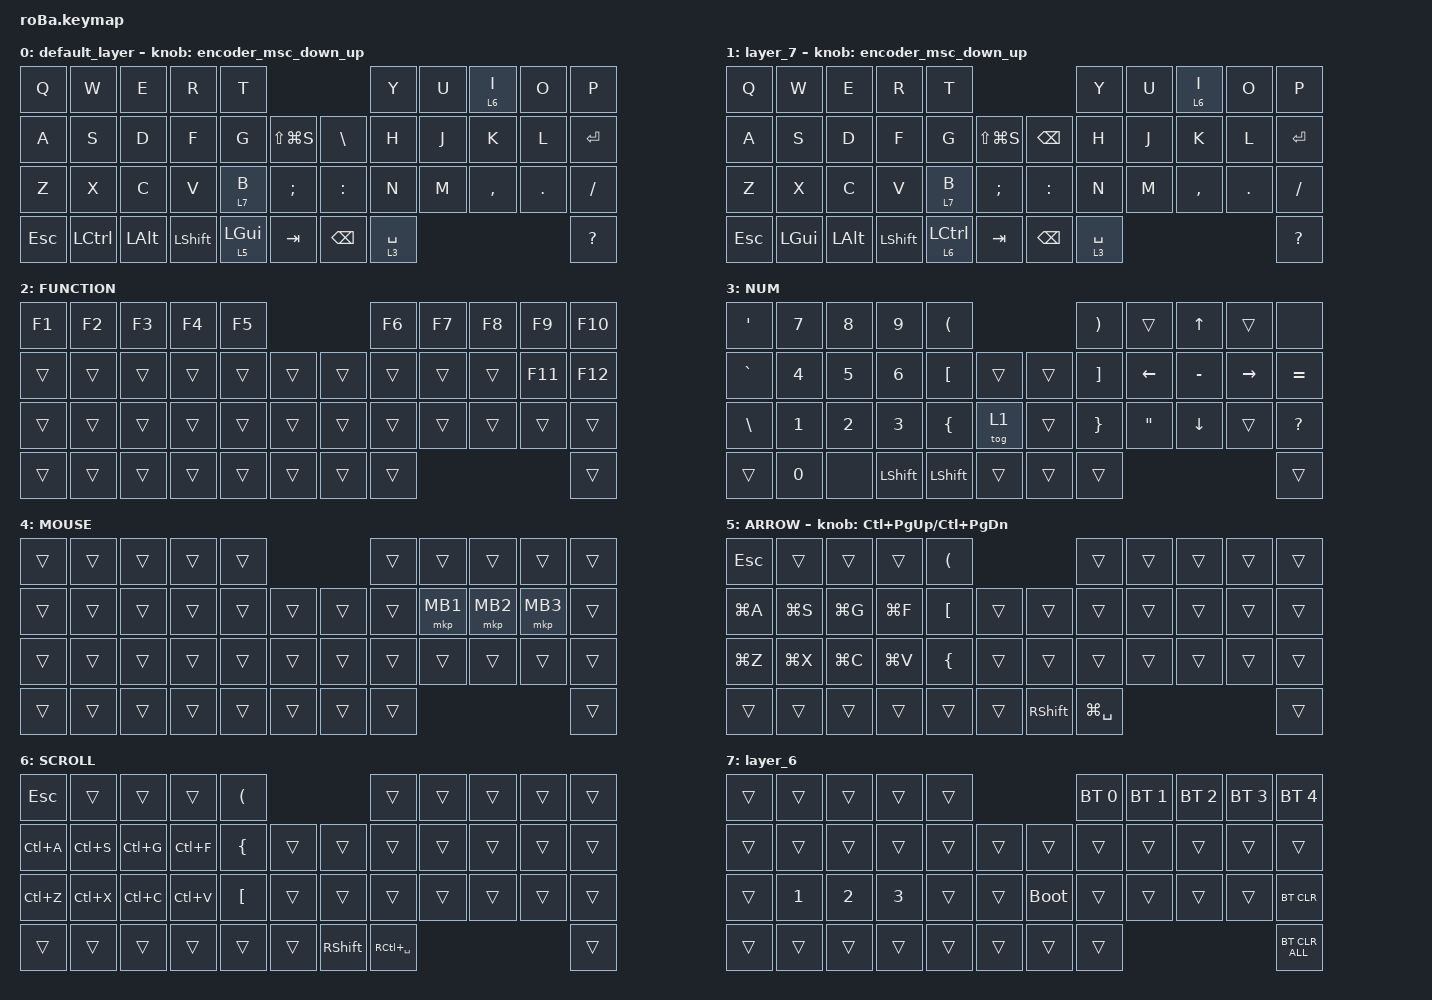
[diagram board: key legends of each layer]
#include <behaviors.dtsi>
#include <dt-bindings/zmk/bt.h>
#include <dt-bindings/zmk/keys.h>
#include <dt-bindings/zmk/pointing.h>

//スクロール量変更の定義

#define ZMK_POINTING_DEFAULT_SCRL_VAL 80

&mt {
    flavor = "balanced";
    quick-tap-ms = <0>;
};

&trackball {
    automouse-layer = <4>;
    scroll-layers = <5>;

    // arrows {
    //     layers = <3>;
    //     bindings =
    //         <&kp RIGHT_ARROW>,
    //         <&kp LEFT_ARROW>,
    //         <&kp UP_ARROW>,
    //         <&kp DOWN_ARROW>;
    //     tick = <10>;
    //     wait-ms = <5>;
    //     tap-ms = <5>;
    // };
};

/ {
    combos {
        compatible = "zmk,combos";

        tab {
            bindings = <&kp TAB>;
            key-positions = <11 12>;
        };

        shift_tab {
            bindings = <&kp LS(TAB)>;
            key-positions = <12 13>;
        };

        muhennkann {
            bindings = <&to_layer_0 INT_MUHENKAN>;
            key-positions = <11 10>;
        };

        double_quotation {
            bindings = <&kp DOUBLE_QUOTES>;
            key-positions = <20 21>;
        };

        eq {
            bindings = <&kp EQUAL>;
            key-positions = <24 25>;
        };
    };

    macros {
        to_layer_0: to_layer_0 {
            compatible = "zmk,behavior-macro-one-param";
            #binding-cells = <1>;
            bindings = <&to 0 &macro_param_1to1 &kp MACRO_PLACEHOLDER>;
            label = "TO_LAYER_0";
        };
    };

    behaviors {
        lt_to_layer_0: lt_to_layer_0 {
            compatible = "zmk,behavior-hold-tap";
            label = "LAYER_TAP_TO_0";
            bindings = <&mo>, <&to_layer_0>;

            #binding-cells = <2>;
            tapping-term-ms = <200>;
        };

        encoder_msc_down_up: encoder_msc_down_up {
            compatible = "zmk,behavior-sensor-rotate";
            label = "ENCODER_MSC_DOWN_UP";
            #sensor-binding-cells = <0>;
            bindings = <&msc SCRL_DOWN>, <&msc SCRL_UP>;

            tap-ms = <20>;
        };
    };

    keymap {
        compatible = "zmk,keymap";

        default_layer {
            bindings = <
&kp Q       &kp W      &kp E         &kp R           &kp T                                         &kp Y        &kp U  &lt 6 I    &kp O    &kp P
&kp A       &kp S      &kp D         &kp F           &kp G       &kp LS(LG(S))      &kp BACKSLASH  &kp H        &kp J  &kp K      &kp L    &kp ENTER
&kp Z       &kp X      &kp C         &kp V           &lt 7 B     &kp SEMICOLON      &kp COLON      &kp N        &kp M  &kp COMMA  &kp DOT  &kp SLASH
&kp ESCAPE  &kp LCTRL  &kp LEFT_ALT  &kp LEFT_SHIFT  &lt 5 LGUI  &kp TAB            &kp BACKSPACE  &lt 3 SPACE                             &kp QUESTION
            >;

            sensor-bindings = <&encoder_msc_down_up>;
        };

        layer_7 {
            bindings = <
&kp Q       &kp W     &kp E         &kp R           &kp T                                          &kp Y        &kp U  &lt 6 I    &kp O    &kp P
&kp A       &kp S     &kp D         &kp F           &kp G        &kp LS(LG(S))      &kp BACKSPACE  &kp H        &kp J  &kp K      &kp L    &kp ENTER
&kp Z       &kp X     &kp C         &kp V           &lt 7 B      &kp SEMICOLON      &kp COLON      &kp N        &kp M  &kp COMMA  &kp DOT  &kp SLASH
&kp ESCAPE  &kp LGUI  &kp LEFT_ALT  &kp LEFT_SHIFT  &lt 6 LCTRL  &kp TAB            &kp BACKSPACE  &lt 3 SPACE                             &kp QUESTION
            >;

            sensor-bindings = <&encoder_msc_down_up>;
        };

        FUNCTION {
            bindings = <
&kp F1  &kp F2  &kp F3  &kp F4  &kp F5                      &kp F6  &kp F7  &kp F8  &kp F9   &kp F10
&trans  &trans  &trans  &trans  &trans  &trans      &trans  &trans  &trans  &trans  &kp F11  &kp F12
&trans  &trans  &trans  &trans  &trans  &trans      &trans  &trans  &trans  &trans  &trans   &trans
&trans  &trans  &trans  &trans  &trans  &trans      &trans  &trans                           &trans
            >;
        };

        NUM {
            bindings = <
&kp SQT        &kp N7        &kp N8        &kp N9          &kp LEFT_PARENTHESIS                      &kp RIGHT_PARENTHESIS  &trans             &kp UP_ARROW    &trans           &none
&kp GRAVE      &kp NUMBER_4  &kp N5        &kp NUMBER_6    &kp LEFT_BRACKET      &trans      &trans  &kp RIGHT_BRACKET      &kp LEFT_ARROW     &kp MINUS       &kp RIGHT_ARROW  &kp EQUAL
&kp BACKSLASH  &kp NUMBER_1  &kp NUMBER_2  &kp NUMBER_3    &kp LEFT_BRACE        &tog 1      &trans  &kp RIGHT_BRACE        &kp DOUBLE_QUOTES  &kp DOWN_ARROW  &trans           &kp QUESTION
&trans         &kp N0        &none         &kp LEFT_SHIFT  &kp LEFT_SHIFT        &trans      &trans  &trans                                                                     &trans
            >;
        };

        MOUSE {
            bindings = <
&trans  &trans  &trans  &trans  &trans                      &trans  &trans    &trans    &trans    &trans
&trans  &trans  &trans  &trans  &trans  &trans      &trans  &trans  &mkp MB1  &mkp MB2  &mkp MB3  &trans
&trans  &trans  &trans  &trans  &trans  &trans      &trans  &trans  &trans    &trans    &trans    &trans
&trans  &trans  &trans  &trans  &trans  &trans      &trans  &trans                                &trans
            >;
        };

        ARROW {
            bindings = <
&kp ESCAPE  &trans     &trans     &trans     &kp LEFT_PARENTHESIS                               &trans         &trans  &trans  &trans  &trans
&kp LG(A)   &kp LG(S)  &kp LG(G)  &kp LG(F)  &kp LEFT_BRACKET      &trans      &trans           &trans         &trans  &trans  &trans  &trans
&kp LG(Z)   &kp LG(X)  &kp LG(C)  &kp LG(V)  &kp LEFT_BRACE        &trans      &trans           &trans         &trans  &trans  &trans  &trans
&trans      &trans     &trans     &trans     &trans                &trans      &kp RIGHT_SHIFT  &kp LG(SPACE)                          &trans
            >;

            sensor-bindings = <&inc_dec_kp LC(PAGE_UP) LC(PAGE_DOWN)>;
        };

        SCROLL {
            bindings = <
&kp ESCAPE  &trans     &trans     &trans     &kp LEFT_PARENTHESIS                               &trans         &trans  &trans  &trans  &trans
&kp LC(A)   &kp LC(S)  &kp LC(G)  &kp LC(F)  &kp LEFT_BRACE        &trans      &trans           &trans         &trans  &trans  &trans  &trans
&kp LC(Z)   &kp LC(X)  &kp LC(C)  &kp LC(V)  &kp LEFT_BRACKET      &trans      &trans           &trans         &trans  &trans  &trans  &trans
&trans      &trans     &trans     &trans     &trans                &trans      &kp RIGHT_SHIFT  &kp RC(SPACE)                          &trans
            >;
        };

        layer_6 {
            bindings = <
&trans  &trans        &trans        &trans        &trans                           &bt BT_SEL 0  &bt BT_SEL 1  &bt BT_SEL 2  &bt BT_SEL 3  &bt BT_SEL 4
&trans  &trans        &trans        &trans        &trans  &trans      &trans       &trans        &trans        &trans        &trans        &trans
&trans  &kp NUMBER_1  &kp NUMBER_2  &kp NUMBER_3  &trans  &trans      &bootloader  &trans        &trans        &trans        &trans        &bt BT_CLR
&trans  &trans        &trans        &trans        &trans  &trans      &trans       &trans                                                  &bt BT_CLR_ALL
            >;
        };
    };
};
